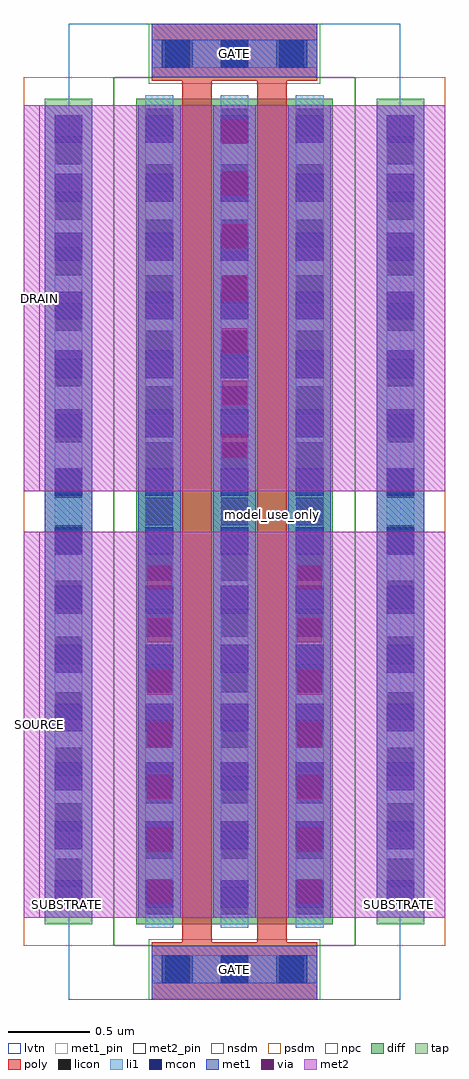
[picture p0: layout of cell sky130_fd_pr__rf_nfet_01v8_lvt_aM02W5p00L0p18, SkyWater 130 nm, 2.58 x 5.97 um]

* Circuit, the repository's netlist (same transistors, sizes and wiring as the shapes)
* Copyright 2020 The SkyWater PDK Authors
*
* Licensed under the Apache License, Version 2.0 (the "License");
* you may not use this file except in compliance with the License.
* You may obtain a copy of the License at
*
*     https://www.apache.org/licenses/LICENSE-2.0
*
* Unless required by applicable law or agreed to in writing, software
* distributed under the License is distributed on an "AS IS" BASIS,
* WITHOUT WARRANTIES OR CONDITIONS OF ANY KIND, either express or implied.
* See the License for the specific language governing permissions and
* limitations under the License.
*
* SPDX-License-Identifier: Apache-2.0


.subckt sky130_fd_pr__rf_nfet_01v8_lvt_aM02W5p00L0p18 DRAIN GATE SOURCE SUBSTRATE
X0 DRAIN GATE SOURCE SUBSTRATE sky130_fd_pr__nfet_01v8_lvt w=5.05e+06u l=180000u
X1 SOURCE GATE DRAIN SUBSTRATE sky130_fd_pr__nfet_01v8_lvt w=5.05e+06u l=180000u
.ends

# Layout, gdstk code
import gdstk
lib = gdstk.Library(unit=1e-6, precision=1e-09)
def R(c, l, rs):  # rectangles x0, y0, x1, y1
    for r in rs: c.add(gdstk.rectangle(r[:2], r[2:], *l))
def A(c, l, x, y, w, h, nx, ny, dx, dy):  # array of equal rectangles
    R(c, l, [(x+i*dx, y+j*dy, x+i*dx+w, y+j*dy+h) for i in range(nx) for j in range(ny)])
diff = (65, 20)
tap = (65, 44)
poly = (66, 20)
licon = (66, 44)
li1 = (67, 20)
mcon = (67, 44)
met1_pin = (68, 16)
met1 = (68, 20)
via = (68, 44)
met2_pin = (69, 16)
met2 = (69, 20)
nsdm = (93, 44)
psdm = (94, 20)
npc = (95, 20)
lvtn = (125, 44)

sky130_fd_pr__rf_nfet_01 = lib.new_cell('sky130_fd_pr__rf_nfet_01v8_lvt_aM02W5p00L0p18')
R(sky130_fd_pr__rf_nfet_01, diff, [(0.74,0.51,1.94,5.56)])
R(sky130_fd_pr__rf_nfet_01, tap, [(0.18,0.51,0.47,5.56), (2.21,0.51,2.5,5.56)])
R(sky130_fd_pr__rf_nfet_01, poly, [(0.835,0.05,1.845,0.4), (1.02,0.4,1.2,5.67), (1.48,0.4,1.66,5.67), (0.835,5.67,1.845,6.02)])
A(sky130_fd_pr__rf_nfet_01, licon, 0.915, 0.15, 0.17, 0.17, 3, 2, 0.34, 5.6)
A(sky130_fd_pr__rf_nfet_01, licon, 0.795, 0.57, 0.17, 0.17, 3, 15, 0.46, 0.34)
A(sky130_fd_pr__rf_nfet_01, licon, 0.24, 0.74, 0.17, 0.17, 1, 14, 0, 0.34)
A(sky130_fd_pr__rf_nfet_01, licon, 2.27, 0.74, 0.17, 0.17, 1, 14, 0, 0.34)
A(sky130_fd_pr__rf_nfet_01, li1, 0.795, 0.49, 0.17, 5.09, 3, 1, 0.46, 0)
A(sky130_fd_pr__rf_nfet_01, li1, 0.795, 1.69, 0.17, 2.69, 3, 1, 0.46, 0)
R(sky130_fd_pr__rf_nfet_01, li1, [(0.835,0.15,1.845,0.32), (0.895,0.15,1.785,0.32), (0.24,0.61,0.41,5.46), (2.27,0.61,2.44,5.46), (0.24,0.66,0.41,5.41), (2.27,0.66,2.44,5.41), (0.24,1.68,0.41,4.39), (2.27,1.68,2.44,4.39), (0.835,5.75,1.845,5.92), (0.895,5.75,1.785,5.92)])
A(sky130_fd_pr__rf_nfet_01, mcon, 0.895, 0.15, 0.17, 0.17, 3, 2, 0.36, 5.6)
A(sky130_fd_pr__rf_nfet_01, mcon, 0.24, 0.61, 0.17, 0.17, 1, 14, 0, 0.36)
A(sky130_fd_pr__rf_nfet_01, mcon, 0.795, 0.61, 0.17, 0.17, 3, 14, 0.46, 0.36)
A(sky130_fd_pr__rf_nfet_01, mcon, 2.27, 0.61, 0.17, 0.17, 1, 14, 0, 0.36)
R(sky130_fd_pr__rf_nfet_01, met1_pin, [(0.835,0.05,1.845,0.38), (0.18,0.55,0.47,0.63), (2.21,0.55,2.5,0.63), (0.835,5.69,1.845,6.02)])
A(sky130_fd_pr__rf_nfet_01, met1, 0.75, 0.55, 0.26, 4.97, 3, 1, 0.46, 0)
R(sky130_fd_pr__rf_nfet_01, met1, [(0.835,0.05,1.845,0.38), (0.18,0.55,0.47,5.52), (0.75,0.55,1.01,2.79), (1.67,0.55,1.93,2.79), (2.21,0.55,2.5,5.52), (1.21,3.28,1.47,5.52), (0.835,5.69,1.845,6.02)])
A(sky130_fd_pr__rf_nfet_01, via, 0.805, 0.635, 0.15, 0.15, 1, 7, 0, 0.32)
A(sky130_fd_pr__rf_nfet_01, via, 1.725, 0.635, 0.15, 0.15, 1, 7, 0, 0.32)
A(sky130_fd_pr__rf_nfet_01, via, 1.265, 3.365, 0.15, 0.15, 1, 7, 0, 0.32)
R(sky130_fd_pr__rf_nfet_01, met2_pin, [(0.05,0.55,0.15,2.91), (0.05,3.16,0.15,5.52)])
R(sky130_fd_pr__rf_nfet_01, met2, [(0.05,0.55,2.63,2.91), (0.75,0.55,1.01,2.79), (1.67,0.55,1.93,2.79), (0.05,3.16,2.63,5.52), (1.21,3.28,1.47,5.52)])
R(sky130_fd_pr__rf_nfet_01, nsdm, [(0.6,0.38,2.08,5.69)])
R(sky130_fd_pr__rf_nfet_01, psdm, [(0.05,0.38,0.6,5.69), (2.08,0.38,2.63,5.69)])
R(sky130_fd_pr__rf_nfet_01, npc, [(0.815,0.05,1.865,0.42), (0.815,5.65,1.865,6.02)])
R(sky130_fd_pr__rf_nfet_01, lvtn, [(0.325,0.05,2.355,6.02)])
sky130_fd_pr__rf_nfet_01.add(gdstk.Label('model_use_only', (1.57,3.015), layer=66, texttype=83))
sky130_fd_pr__rf_nfet_01.add(gdstk.Label('model_use_only', (1.11,3.015), layer=66, texttype=83))
sky130_fd_pr__rf_nfet_01.add(gdstk.Label('DRAIN', (0.15,4.34), layer=69, texttype=5))
sky130_fd_pr__rf_nfet_01.add(gdstk.Label('SOURCE', (0.15,1.73), layer=69, texttype=5))
sky130_fd_pr__rf_nfet_01.add(gdstk.Label('GATE', (1.34,5.835), layer=68, texttype=5))
sky130_fd_pr__rf_nfet_01.add(gdstk.Label('GATE', (1.34,0.235), layer=68, texttype=5))
sky130_fd_pr__rf_nfet_01.add(gdstk.Label('SUBSTRATE', (2.35,0.63), layer=68, texttype=5))
sky130_fd_pr__rf_nfet_01.add(gdstk.Label('SUBSTRATE', (0.32,0.63), layer=68, texttype=5))

lib.write_gds('sky130_fd_pr__rf_nfet_01v8_lvt_aM02W5p00L0p18.gds')
